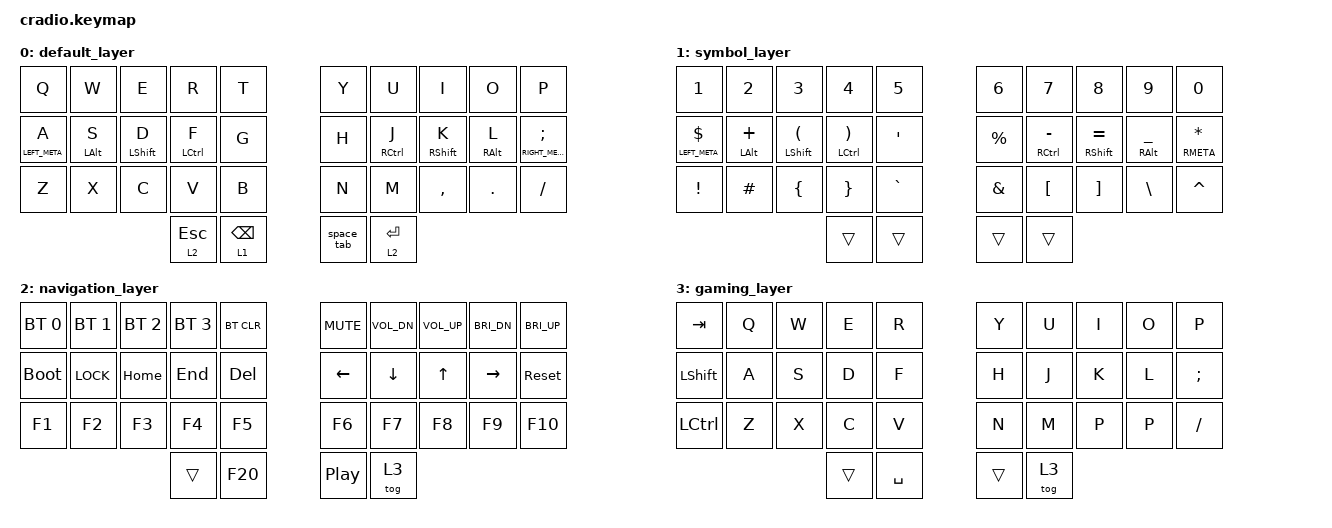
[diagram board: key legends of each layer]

//  Copyright (c) 2020 The ZMK Contributors
//  SPDX-License-Identifier: MIT

// ZMK config for my Sweep keyboard, using home-row modifiers and layer-tap 

#include <behaviors.dtsi>
#include <dt-bindings/zmk/keys.h>
#include <dt-bindings/zmk/bt.h>
#include <dt-bindings/zmk/outputs.h>

// Use a hold-tap behavior that doesn't make me hate myself
// Allow tap-hold to trigger hold behavior
&mt {
    flavor = "balanced";
    quick-tap-ms = <175>;
    global-quick-tap;
};

&lt {
    flavor = "balanced";
    quick-tap-ms = <200>;
    // global-quick-tap;
};

/ {
    behaviors {
        space_tab: space_tab {
            compatible = "zmk,behavior-mod-morph";
            label = "SPACE_TAB";
            #binding-cells = <0>;
            bindings = <&lt 1 SPACE>, <&kp TAB>;
            mods = <(MOD_LCTL)>;
        };
    };

    keymap {
        compatible = "zmk,keymap";

        // QWERTY layer with home-row mods and additional thumb keys
        default_layer {
            bindings = <
//    ┌───────────┬───────────┬───────────┬───────────────────┬───────────┐   ┌────────────┬───────────┬───────────┬───────────┬───────────┐
//    │     Q     │     W     │     E     │         R         │     T     │   │     Y      │     U     │     I     │     O     │     P     │
//    ├───────────┼───────────┼───────────┼───────────────────┼───────────┤   ├────────────┼───────────┼───────────┼───────────┼───────────┤
//    │ mt lgui A │ mt lalt S │ mt lsft D │ mt left_CONTROL F │     G     │   │     H      │ mt rctl J │ mt rsft K │ mt ralt L │ mt rgui ; │
//    ├───────────┼───────────┼───────────┼───────────────────┼───────────┤   ├────────────┼───────────┼───────────┼───────────┼───────────┤
//    │     Z     │     X     │     C     │         V         │     B     │   │     N      │     M     │     ,     │     .     │     /     │
//    └───────────┴───────────┴───────────┼───────────────────┼───────────┤   ├────────────┼───────────┼───────────┴───────────┴───────────┘
//                                        │     lt 2 esc      │ lt 1 bspc │   │ &space_tab │ lt 2 ent  │
//                                        └───────────────────┴───────────┘   └────────────┴───────────┘
  &kp Q             &kp W            &kp E              &kp R                &kp T                 &kp Y        &kp U         &kp I               &kp O             &kp P
  &mt LEFT_META A   &mt LEFT_ALT S   &mt LEFT_SHIFT D   &mt LEFT_CONTROL F   &kp G                 &kp H        &mt RCTRL J   &mt RIGHT_SHIFT K   &mt RIGHT_ALT L   &mt RIGHT_META SEMICOLON
  &kp Z             &kp X            &kp C              &kp V                &kp B                 &kp N        &kp M         &kp COMMA           &kp DOT           &kp FSLH
                                                        &lt 2 ESC            &lt 1 BACKSPACE       &space_tab   &lt 2 ENTER
            >;
        };

        // Numbers and symbols layer with home-row mods; optimized for general coding
        symbol_layer {
            bindings = <
//    ┌───────────┬───────────┬───────────┬───────────┬─────┐   ┌─────┬───────────┬───────────┬───────────┬───────────┐
//    │     1     │     2     │     3     │     4     │  5  │   │  6  │     7     │     8     │     9     │     0     │
//    ├───────────┼───────────┼───────────┼───────────┼─────┤   ├─────┼───────────┼───────────┼───────────┼───────────┤
//    │ mt lgui $ │ mt lalt + │ mt lsft ( │ mt lctl ) │  '  │   │  %  │ mt rctl - │ mt rsft = │ mt ralt _ │ mt rgui * │
//    ├───────────┼───────────┼───────────┼───────────┼─────┤   ├─────┼───────────┼───────────┼───────────┼───────────┤
//    │     !     │     #     │     {     │     }     │  `  │   │  &  │     [     │     ]     │     \     │     ^     │
//    └───────────┴───────────┴───────────┼───────────┼─────┤   ├─────┼───────────┼───────────┴───────────┴───────────┘
//                                        │           │     │   │     │           │
//                                        └───────────┴─────┘   └─────┴───────────┘
  &kp N1                 &kp N2              &kp N3                            &kp N4                        &kp N5                 &kp N6          &kp N7             &kp N8              &kp N9                &kp N0
  &mt LEFT_META DOLLAR   &mt LEFT_ALT PLUS   &mt LEFT_SHIFT LEFT_PARENTHESIS   &mt LCTRL RIGHT_PARENTHESIS   &kp SINGLE_QUOTE       &kp PERCENT     &mt RCTRL MINUS    &mt RSHFT EQUAL     &mt RALT UNDERSCORE   &mt RMETA ASTERISK
  &kp EXCL               &kp POUND           &kp LEFT_BRACE                    &kp RIGHT_BRACE               &kp GRAVE              &kp AMPERSAND   &kp LEFT_BRACKET   &kp RIGHT_BRACKET   &kp BACKSLASH         &kp CARET
                                                                               &trans                        &trans                 &trans          &trans
            >;
        };

        // Miscellanius layer for system/bluetooth control, navigation, and media control
        navigation_layer {
            bindings = <
//    ┌──────────┬──────────┬──────────┬──────────┬────────┐   ┌──────┬───────┬──────┬──────┬────────────┐
//    │ bt_sel 0 │ bt_sel 1 │ bt_sel 2 │ bt_sel 3 │ bt_clr │   │ mute │ vold  │ volu │ bri- │    bri+    │
//    ├──────────┼──────────┼──────────┼──────────┼────────┤   ├──────┼───────┼──────┼──────┼────────────┤
//    │   boot   │   lock   │   home   │   end    │  del   │   │ left │ down  │  up  │ rght │ &sys_reset │
//    ├──────────┼──────────┼──────────┼──────────┼────────┤   ├──────┼───────┼──────┼──────┼────────────┤
//    │    f1    │    f2    │    f3    │    f4    │   f5   │   │  f6  │  f7   │  f8  │  f9  │    f10     │
//    └──────────┴──────────┴──────────┼──────────┼────────┤   ├──────┼───────┼──────┴──────┴────────────┘
//                                     │          │  f20   │   │ play │ tog 3 │
//                                     └──────────┴────────┘   └──────┴───────┘
  &bt BT_SEL 0   &bt BT_SEL 1   &bt BT_SEL 2   &bt BT_SEL 3   &bt BT_CLR       &kp K_MUTE   &kp C_VOL_DN   &kp C_VOL_UP   &kp C_BRI_DN   &kp C_BRI_UP
  &bootloader    &kp K_LOCK     &kp HOME       &kp END        &kp DEL          &kp LEFT     &kp DOWN       &kp UP         &kp RIGHT      &sys_reset
  &kp F1         &kp F2         &kp F3         &kp F4         &kp F5           &kp F6       &kp F7         &kp F8         &kp F9         &kp F10
                                               &trans         &kp F20          &kp C_PP     &tog 3
            >;
        };

        // Gaming layer; standard QWERTY layout shifted one column to the right.
        // This makes the wasd keys work better with the Sweep's column stagger and makes room for other needed keys.
        gaming_layer {
            bindings = <
//    ┌──────────────┬───┬───┬─────┬─────┐   ┌─────┬───────┬───┬───┬───┐
//    │     tab      │ Q │ W │  E  │  R  │   │  Y  │   U   │ I │ O │ P │
//    ├──────────────┼───┼───┼─────┼─────┤   ├─────┼───────┼───┼───┼───┤
//    │     lsft     │ A │ S │  D  │  F  │   │  H  │   J   │ K │ L │ ; │
//    ├──────────────┼───┼───┼─────┼─────┤   ├─────┼───────┼───┼───┼───┤
//    │ left_CONTROL │ Z │ X │  C  │  V  │   │  N  │   M   │ P │ P │ / │
//    └──────────────┴───┴───┼─────┼─────┤   ├─────┼───────┼───┴───┴───┘
//                           │     │ spc │   │     │ tog 3 │
//                           └─────┴─────┘   └─────┴───────┘
  &kp TAB            &kp Q   &kp W   &kp E    &kp R           &kp Y    &kp U    &kp I   &kp O   &kp P
  &kp LEFT_SHIFT     &kp A   &kp S   &kp D    &kp F           &kp H    &kp J    &kp K   &kp L   &kp SEMICOLON
  &kp LEFT_CONTROL   &kp Z   &kp X   &kp C    &kp V           &kp N    &kp M    &kp P   &kp P   &kp FSLH
                                     &trans   &kp SPACE       &trans   &tog 3
            >;
        };

    };
};
